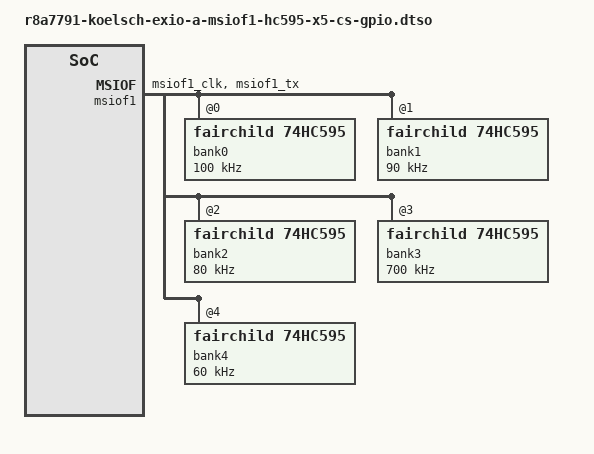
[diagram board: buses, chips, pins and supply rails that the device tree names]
// SPDX-License-Identifier: GPL-2.0
//
// Device Tree Overlay for MSIOF1 and 5-channel HC595 on r8a7791/koelsch EXIO A
// using GPIO chipselects only
//
// Copyright (C) 2017 Glider bvba
//
// Pinout:
//   - SCK = EXIO A pin 46
//   - MOSI = EXIO A pin 54
//   - CS0# = EXIO A pin 48
//   - CS1# = EXIO A pin 50
//   - CS2# = EXIO A pin 52
//   - CS3# = EXIO A pin 42
//   - CS4# = EXIO A pin 44

/dts-v1/;
/plugin/;

#include <dt-bindings/gpio/gpio.h>

&pfc {
	msiof1_pins: msiof1 {
		groups = "msiof1_clk", "msiof1_tx";
		function = "msiof1";
	};
};

&msiof1 {
	pinctrl-0 = <&msiof1_pins>;
	pinctrl-names = "default";

	#address-cells = <1>;
	#size-cells = <0>;
	num-cs = <5>;
	cs-gpios = <&gpio0 23 GPIO_ACTIVE_LOW>,
		   <&gpio0 24 GPIO_ACTIVE_LOW>,
		   <&gpio0 25 GPIO_ACTIVE_LOW>,
		   <&gpio0 20 GPIO_ACTIVE_LOW>,
		   <&gpio0 21 GPIO_ACTIVE_LOW>;
	status = "okay";

	bank0: gpio@0 {
		compatible = "fairchild,74hc595";
		reg = <0>;

		gpio-controller;
		#gpio-cells = <2>;
		registers-number = <1>;
		spi-max-frequency = <100000>;
	};

	bank1: gpio@1 {
		compatible = "fairchild,74hc595";
		reg = <1>;

		gpio-controller;
		#gpio-cells = <2>;
		registers-number = <1>;
		spi-max-frequency = <90000>;
	};

	bank2: gpio@2 {
		compatible = "fairchild,74hc595";
		reg = <2>;

		gpio-controller;
		#gpio-cells = <2>;
		registers-number = <1>;
		spi-max-frequency = <80000>;
	};

	bank3: gpio@3 {
		compatible = "fairchild,74hc595";
		reg = <3>;

		gpio-controller;
		#gpio-cells = <2>;
		registers-number = <1>;
		spi-max-frequency = <700000>;
	};

	bank4: gpio@4 {
		compatible = "fairchild,74hc595";
		reg = <4>;

		gpio-controller;
		#gpio-cells = <2>;
		registers-number = <1>;
		spi-max-frequency = <60000>;
	};
};
